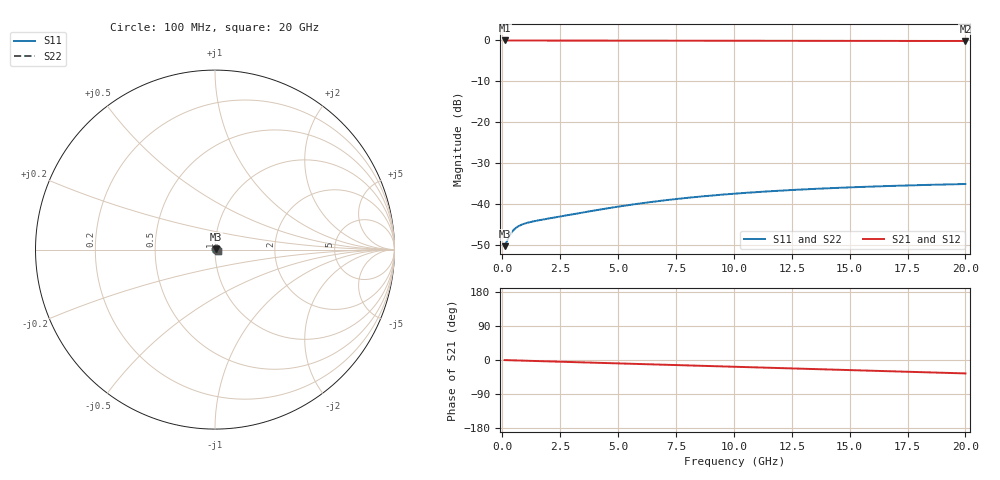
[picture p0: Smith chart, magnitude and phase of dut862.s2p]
! Touchstone file exported from HFSS 2026.1.0
!  File:  C:/ffzhzh/LocalFiles/Ansys_Project_Files/temp_train_TMRDL_862_1783157159_43440.aedt
!  Generated:  05:27:05 PM Jul  4, 2026
!  Design:  TMRDL
!  Project:  temp_train_TMRDL_862_1783157159_43440
! Variables:
!  h_bsmrdl = 2um
!  h_ox = 20um
!  h_rdl = 5um
!  h_sub = 80um
!  h_tmrdl = 3.01um
!  h_tsv = 80um
!  h_via = 3um
!  l_bsmrdl = 300um
!  l_sub = 1021.47um
!  l_tmrdl = 621.47um
!  m_sub = 200um
!  pitch = 32.74um
!  r_tsv = 6um
!  s_tmrdl = 10um
!  w_bsmrdl = 18um
!  w_sub = 500um
!  w_tmrdl = 28.38um
!  x_tsv_center1 = 635.66um
!  x_tsv_center2 = 953.66um
!  x_tsv_center3 = 1603.51um
!  x_tsv_center4 = 1921.51um
!  x_tsv_center5 = 2571.36um
!  x_tsv_center6 = 2889.36um
# GHz S MA R 50.000000
! Terminal data exported
! Port[1] = TM_RDL1_1_T1
! Port[2] = TM_RDL1_1_T2
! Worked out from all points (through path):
!   200 points, 100 MHz to 20 GHz, reference 50 ohm
!   highest |S21| = -0.03 dB at 100 MHz (marker M1); lowest = -0.2 dB at 20 GHz (marker M2)
!   group delay of S21, straight-line fit = 4.9 ps
!   lowest |S11| = -50.4 dB at 100 MHz (marker M3), VSWR 1.01, Z = 50.3 + j0.0715 ohm
!   |S11| at or under -10 dB: start of sweep to end of sweep
!   |S22| runs from -50.4 to -35.0 dB; largest |S21 - S12| = 2.7e-15
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0.1  0.003024 13.6  0.9971 -0.2  0.9971 -0.2  0.003024 13.6
! Gamma 0 0 0 0
! Port Impedance 50 0 50 0
0.2  0.00349 21.8  0.9967 -0.4  0.9967 -0.4  0.003526 20.9
0.3  0.004003 25.1  0.9963 -0.6  0.9963 -0.6  0.004041 23.2
0.4  0.004453 25.9  0.9959 -0.8  0.9959 -0.8  0.004462 23.4
0.5  0.004813 25.5  0.9956 -1.0  0.9956 -1.0  0.004786 22.9
0.6  0.005094 24.8  0.9953 -1.2  0.9953 -1.2  0.005033 22.2
0.7  0.005314 24.1  0.9951 -1.3  0.9951 -1.3  0.005225 21.7
0.8  0.00549 23.5  0.995 -1.5  0.995 -1.5  0.005382 21.3
1  0.005757 22.6  0.9947 -1.9  0.9947 -1.9  0.005628 20.9
1.4  0.006132 22.0  0.9944 -2.6  0.9944 -2.6  0.006007 21.2
2.3  0.006826 23.1  0.9939 -4.2  0.9939 -4.2  0.006764 23.0
3.5  0.007836 24.7  0.9933 -6.4  0.9933 -6.4  0.00783 24.7
4.4  0.008655 24.8  0.9927 -8.0  0.9927 -8.0  0.00867 24.7
5.2  0.009395 24.1  0.9921 -9.4  0.9921 -9.4  0.00942 24.0
6.8  0.01083 21.3  0.9909 -12.3  0.9909 -12.3  0.01087 21.1
8.4  0.01213 17.3  0.9896 -15.1  0.9896 -15.1  0.01219 17.0
10.1  0.01333 12.3  0.9882 -18.1  0.9882 -18.1  0.01343 12.0
11.7  0.0143 7.4  0.987 -20.9  0.987 -20.9  0.01443 7.0
13.4  0.01517 2.1  0.9858 -23.9  0.9858 -23.9  0.01534 1.7
15  0.01586 -2.9  0.9848 -26.7  0.9848 -26.7  0.01608 -3.3
16.7  0.01649 -8.1  0.9837 -29.7  0.9837 -29.7  0.01676 -8.6
20  0.01744 -18.0  0.9819 -35.4  0.9819 -35.4  0.01783 -18.5
